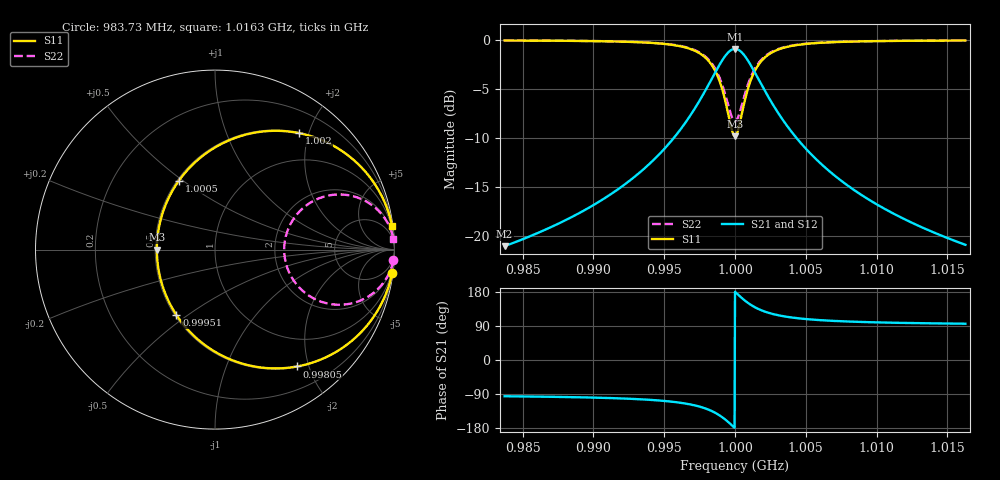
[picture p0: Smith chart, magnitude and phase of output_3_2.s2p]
! File generated for n1 = 3, n2 = 2
! b1 = 21.544347
! b2 = 10.000000
! Q0 = 10000.000000
! f0 = 1000000000.000000
! n = 1001
! rel_span = 10.000000
# Hz S RI R 50
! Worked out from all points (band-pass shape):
!   1001 points, 983.73 MHz to 1.0163 GHz, reference 50 ohm
!   highest |S21| = -0.90 dB at 1 GHz (marker M1); lowest = -21.0 dB at 983.73 MHz (marker M2)
!   |S21| within 3 dB of the highest: 998.378 MHz to 1.001625 GHz (3.247 MHz wide, 0.325 % of centre)
!   lowest |S11| = -9.8 dB at 1 GHz (marker M3), VSWR 1.96, Z = 25.5 + j0 ohm
!   |S11| at or under -10 dB: nowhere
!   |S22| runs from -8.3 to 0.0 dB; largest |S21 - S12| = 0
!   S11 on the Smith chart (normalised r, x): 983.73 MHz: 1, -15; 998.05 MHz: 0.51, -1.81; 999.51 MHz: 0.51, -0.45; 1.0005 GHz: 0.51, +0.48; 1.002 GHz: 0.51, +1.84; 1.0163 GHz: 1, +15
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9.837278e8  0.9871 -0.13  -0.00879 -0.0886  -0.00879 -0.0886  0.994 -0.0604
9.891627e8  0.9711 -0.1934  -0.0197 -0.1318  -0.0197 -0.1318  0.9866 -0.0898
9.922544e8  0.9445 -0.2654  -0.0378 -0.1808  -0.0378 -0.1808  0.9742 -0.1232
9.945976e8  0.8904 -0.3648  -0.0747 -0.2485  -0.0747 -0.2485  0.9491 -0.1693
9.966805e8  0.7442 -0.5227  -0.1743 -0.3561  -0.1743 -0.3561  0.8813 -0.2426
9.97429e8  0.622 -0.598  -0.2575 -0.4074  -0.2575 -0.4074  0.8246 -0.2776
9.980473e8  0.458 -0.651  -0.3693 -0.4435  -0.3693 -0.4435  0.7484 -0.3022
9.988609e8  0.1117 -0.6221  -0.6052 -0.4239  -0.6052 -0.4239  0.5877 -0.2888
9.991864e8  -0.059 -0.5297  -0.7215 -0.3609  -0.7215 -0.3609  0.5084 -0.2459
9.995118e8  -0.2146 -0.3645  -0.8275 -0.2483  -0.8275 -0.2483  0.4362 -0.1692
1e9  -0.324 0  -0.902 0  -0.902 0  0.3855 0
1.00026e9  -0.291 0.2065  -0.8795 0.1407  -0.8795 0.1407  0.4008 0.0959
1.000521e9  -0.2011 0.3842  -0.8183 0.2618  -0.8183 0.2618  0.4425 0.1784
1.000814e9  -0.0594 0.5295  -0.7217 0.3607  -0.7217 0.3607  0.5083 0.2458
1.001139e9  0.1111 0.6219  -0.6056 0.4237  -0.6056 0.4237  0.5874 0.2887
1.001497e9  0.2824 0.6597  -0.4889 0.4494  -0.4889 0.4494  0.6669 0.3062
1.001985e9  0.4673 0.6492  -0.3629 0.4423  -0.3629 0.4423  0.7527 0.3014
1.002604e9  0.6274 0.5954  -0.2539 0.4056  -0.2539 0.4056  0.8271 0.2764
1.003352e9  0.7468 0.5207  -0.1725 0.3547  -0.1725 0.3547  0.8825 0.2417
1.005435e9  0.8905 0.3646  -0.0746 0.2484  -0.0746 0.2484  0.9492 0.1692
1.01087e9  0.9707 0.1949  -0.02 0.1328  -0.02 0.1328  0.9864 0.0904
1.016272e9  0.9867 0.1321  -0.00907 0.09  -0.00907 0.09  0.9938 0.0613
